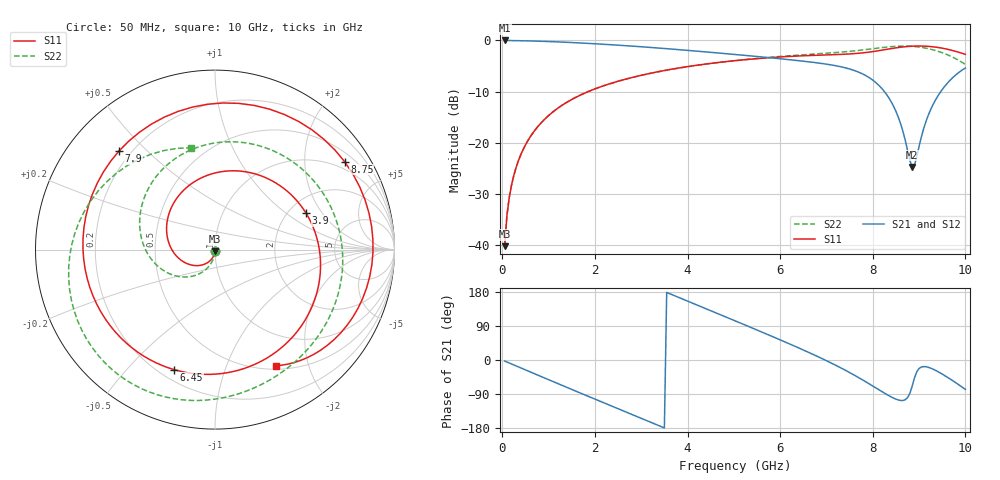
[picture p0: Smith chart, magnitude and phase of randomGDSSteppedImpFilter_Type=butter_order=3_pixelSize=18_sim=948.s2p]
! freq	dB(S11)	phase(S11)	dB(S12)	phase(S12)
!  dB(S21)	phase(S21)	dB(S22)	phase(S22)
!S-par simulation data
#  GHz  S  DB  R 50
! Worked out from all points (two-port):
!   200 points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, 50 MHz to 10 GHz, reference 50 ohm
!   highest |S21| = 0.00 dB at 50 MHz (marker M1); lowest = -24.7 dB at 8.85 GHz (marker M2)
!   |S21| within 3 dB of the highest: start of sweep to 5.343 GHz
!   lowest |S11| = -40.2 dB at 50 MHz (marker M3), VSWR 1.02, Z = 49.9 - j0.973 ohm
!   |S11| at or under -10 dB: start of sweep to 1.856 GHz
!   |S22| runs from -40.1 to -1.1 dB; largest |S21 - S12| = 0
!   S11 on the Smith chart (normalised r, x): 50 MHz: 1.00, -0.02; 3.9 GHz: 2.46, +1.43; 6.45 GHz: 0.26, -0.68; 7.9 GHz: 0.16, +0.41; 8.75 GHz: 0.75, +3.08; 10 GHz: 0.55, -1.52
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0.05  -40.22 -92.9  -0.00 -2.7  -0.00 -2.7  -40.15 -91.1
0.1  -34.22 -96.4  -0.01 -5.3  -0.01 -5.3  -34.20 -93.4
0.2  -28.26 -103.4  -0.02 -10.5  -0.02 -10.5  -28.24 -97.6
0.5  -20.44 -123.9  -0.08 -26.1  -0.08 -26.1  -20.41 -109.4
1.15  -13.58 -167.2  -0.27 -59.7  -0.27 -59.7  -13.56 -133.8
1.75  -10.42 153.2  -0.53 -90.5  -0.53 -90.5  -10.41 -155.8
2.65  -7.60 95.4  -1.01 -136.2  -1.01 -136.2  -7.61 170.5
3.4  -6.05 50.1  -1.50 -174.1  -1.50 -174.1  -6.07 140.1
3.9  -5.25 21.9  -1.87 160.6  -1.87 160.6  -5.28 118.0
5.05  -3.93 -37.2  -2.76 102.3  -2.76 102.3  -3.93 61.5
5.8  -3.35 -74.2  -3.40 63.7  -3.40 63.7  -3.28 22.0
6.45  -3.02 -108.9  -4.01 29.2  -4.01 29.2  -2.83 -12.0
6.7  -2.93 -124.0  -4.27 15.4  -4.27 15.4  -2.68 -24.7
7.4  -2.69 -175.8  -5.34 -26.5  -5.34 -26.5  -2.22 -58.9
7.9  -2.31 134.1  -7.14 -61.3  -7.14 -61.3  -1.73 -83.5
8.35  -1.67 80.8  -11.27 -94.3  -11.27 -94.3  -1.25 -108.5
8.75  -1.18 34.2  -21.42 -99.6  -21.42 -99.6  -1.11 -134.5
8.85  -1.12 23.5  -24.74 -69.3  -24.74 -69.3  -1.16 -141.7
9.1  -1.11 -1.1  -17.21 -17.3  -17.21 -17.3  -1.43 -160.8
9.45  -1.43 -30.0  -10.24 -33.6  -10.24 -33.6  -2.24 168.6
9.75  -2.04 -49.7  -7.08 -56.4  -7.08 -56.4  -3.38 136.5
10  -2.71 -62.2  -5.39 -77.5  -5.39 -77.5  -4.69 103.3
